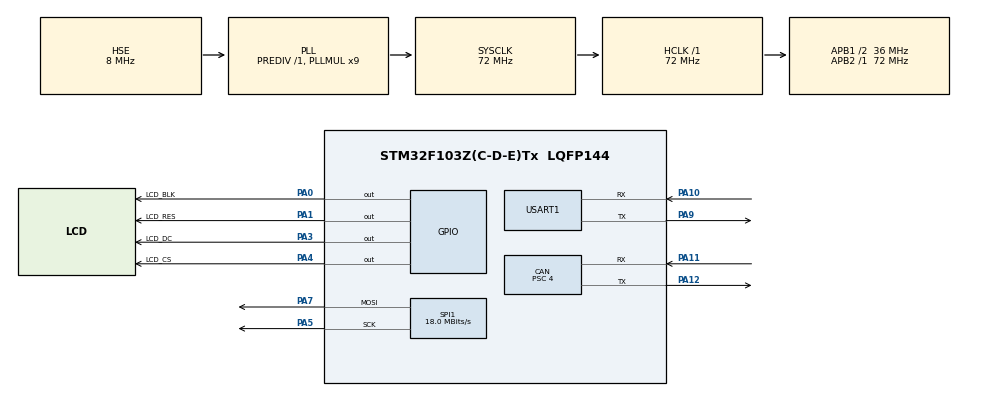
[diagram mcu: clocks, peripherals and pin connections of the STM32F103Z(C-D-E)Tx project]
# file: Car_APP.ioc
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CAN.BS1=CAN_BS1_9TQ
CAN.BS2=CAN_BS2_8TQ
CAN.CalculateBaudRate=500000
CAN.CalculateTimeBit=2000
CAN.CalculateTimeQuantum=111.11111111111111
CAN.NART=ENABLE
CAN.Prescaler=4
Mcu.Family=STM32F1
Mcu.Name=STM32F103Z(C-D-E)Tx
Mcu.Package=LQFP144
NVIC.PriorityGroup=NVIC_PRIORITYGROUP_4
NVIC.TIM6_IRQn=true\:0\:0\:false\:false\:true\:true\:true\:true
OSC_IN.Mode=HSE-External-Oscillator
OSC_IN.Signal=RCC_OSC_IN
OSC_OUT.Mode=HSE-External-Oscillator
OSC_OUT.Signal=RCC_OSC_OUT
PA0-WKUP.GPIO_Label=LCD_BLK
PA0-WKUP.GPIO_Speed=GPIO_SPEED_FREQ_HIGH
PA0-WKUP.Signal=GPIO_Output
PA1.GPIO_Label=LCD_RES
PA1.GPIO_Speed=GPIO_SPEED_FREQ_HIGH
PA1.Signal=GPIO_Output
PA10.Mode=Asynchronous
PA10.Signal=USART1_RX
PA11.Mode=CAN_Activate
PA11.Signal=CAN_RX
PA12.Mode=CAN_Activate
PA12.Signal=CAN_TX
PA13.Mode=Serial_Wire
PA13.Signal=SYS_JTMS-SWDIO
PA14.Mode=Serial_Wire
PA14.Signal=SYS_JTCK-SWCLK
PA3.GPIO_Label=LCD_DC
PA3.GPIO_Speed=GPIO_SPEED_FREQ_HIGH
PA3.Signal=GPIO_Output
PA4.GPIO_Label=LCD_CS
PA4.GPIO_Speed=GPIO_SPEED_FREQ_HIGH
PA4.Signal=GPIO_Output
PA5.Mode=TX_Only_Simplex_Unidirect_Master
PA5.Signal=SPI1_SCK
PA7.Mode=TX_Only_Simplex_Unidirect_Master
PA7.Signal=SPI1_MOSI
PA9.Mode=Asynchronous
PA9.Signal=USART1_TX
PC14-OSC32_IN.Mode=LSE-External-Oscillator
PC14-OSC32_IN.Signal=RCC_OSC32_IN
PC15-OSC32_OUT.Mode=LSE-External-Oscillator
PC15-OSC32_OUT.Signal=RCC_OSC32_OUT
ProjectManager.HeapSize=0x200
ProjectManager.StackSize=0x400
ProjectManager.TargetToolchain=MDK-ARM V5.32
RCC.AHBFreq_Value=72000000
RCC.APB1CLKDivider=RCC_HCLK_DIV2
RCC.APB1Freq_Value=36000000
RCC.APB1TimFreq_Value=72000000
RCC.APB2Freq_Value=72000000
RCC.APB2TimFreq_Value=72000000
RCC.HCLKFreq_Value=72000000
RCC.PLLMUL=RCC_PLL_MUL9
RCC.PLLSourceVirtual=RCC_PLLSOURCE_HSE
RCC.SYSCLKFreq_VALUE=72000000
RCC.SYSCLKSource=RCC_SYSCLKSOURCE_PLLCLK
RCC.USBFreq_Value=72000000
SPI1.BaudRatePrescaler=SPI_BAUDRATEPRESCALER_4
SPI1.CalculateBaudRate=18.0 MBits/s
SPI1.Direction=SPI_DIRECTION_2LINES
SPI1.Mode=SPI_MODE_MASTER
SPI1.VirtualType=VM_MASTER
TIM6.Period=999
TIM6.Prescaler=71
USART1.VirtualMode=VM_ASYNC
VP_RTC_VS_RTC_Activate.Mode=RTC_Enabled
VP_TIM6_VS_ClockSourceINT.Mode=Enable_Timer
board=custom

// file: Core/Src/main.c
/* USER CODE BEGIN Header */
/**
  ******************************************************************************
  * @file           : main.c
  * @brief          : Main program body
  ******************************************************************************
  * @attention
  *
  * Copyright (c) 2026 STMicroelectronics.
  * All rights reserved.
  *
  * This software is licensed under terms that can be found in the LICENSE file
  * in the root directory of this software component.
  * If no LICENSE file comes with this software, it is provided AS-IS.
  *
  ******************************************************************************
  */
/* USER CODE END Header */
#include "main.h"
#include "can.h"
#include "rtc.h"
#include "spi.h"
#include "tim.h"
#include "usart.h"
#include "gpio.h"
#include <stdio.h>

/* USER CODE BEGIN Includes */

#include "lvgl/lvgl.h"
#include "lv_port_disp.h"
#include "lcd.h"
#include "ui/ui.h"
#include "canif.h"
#include "can_handle.h"
#include "boot_manager.h"

/* USER CODE END Includes */

void SystemClock_Config(void);

int main(void)
{

  /* USER CODE BEGIN 1 */

	 SCB->VTOR = 0x08008000;   /* APP 从 0x08008000 运行，向量表必须跟着挪 */

  /* USER CODE END 1 */

  /* MCU Configuration--------------------------------------------------------*/

  /* Reset of all peripherals, Initializes the Flash interface and the Systick. */
  HAL_Init();

  /* Configure the system clock */
  SystemClock_Config();

  /* Initialize all configured peripherals */
  MX_GPIO_Init();
  MX_CAN_Init();
  Can_Filter_Init();              /* 配置CAN过滤器 + 启动CAN */
  MX_RTC_Init();
  MX_SPI1_Init();
  MX_TIM6_Init();
  MX_USART1_UART_Init();
  /* USER CODE BEGIN 2 */

	HAL_TIM_Base_Start_IT(&htim6);   /* 启动 TIM6 中断 → 开始喂 lv_tick */
  LCD_Init();                       /* 第 6 步的 LCD 初始化 */
  lv_init();                        /* LVGL 库初始化 (必须先于 lv_port_disp_init) */
  lv_port_disp_init();              /* 注册显示驱动 */

  ui_init();                       /* 建界面 */
	ui_set_rpm_angle(60);            /* 指针应指 150° */
	ui_set_safty_belt_color(1);      /* 安全带图标红 */
	ui_set_water_temp_color(1);      /* 水温图标红 */

  /* USER CODE END 2 */

  /* Infinite loop */
  while (1)
  {

    /* USER CODE BEGIN 3 */
    static uint32_t lvtick = 0;
    static uint32_t rtc_tick = 0;
    uint32_t v;

		/* ===== OTA 触发检测（必须在 LVGL 之前） ===== */
			if (get_ota_flag() == 1) {
					inter_flash_cfg_set_app_update_flag(1);   /* 写 Flash 升级标志 */
					printf("[OTA] Restarting to OTA...\r\n");
					HAL_Delay(500);                            /* 等 printf 刷完 */
					HAL_NVIC_SystemReset();                    /* 复位进 Bootloader */
			}

		/* 1. LVGL 心跳节拍：每 5ms 调一次 */
    if (HAL_GetTick() - lvtick > 5) { lvtick = HAL_GetTick(); lv_timer_handler(); }

    /* 2. RTC 时间：每 500ms 读 RTC → sprintf → ui_set_date_time_value() */
    /*    注意：必须先 GetTime 再 GetDate（HAL 的 RTC 库要求） */
    if (HAL_GetTick() - rtc_tick > 500) {
        rtc_tick = HAL_GetTick();
        RTC_TimeTypeDef sTime = {0};
        RTC_DateTypeDef sDate = {0};
        HAL_RTC_GetTime(&hrtc, &sTime, RTC_FORMAT_BIN);
        HAL_RTC_GetDate(&hrtc, &sDate, RTC_FORMAT_BIN);
        char date_str[16];
        char time_str[16];
        sprintf(date_str, "20%02d-%02d-%02d", sDate.Year, sDate.Month, sDate.Date);
        sprintf(time_str, "%02d:%02d:%02d", sTime.Hours, sTime.Minutes, sTime.Seconds);
        ui_set_date_time_value((uint8_t *)date_str, (uint8_t *)time_str);
    }

    /* 3. CAN 收帧解析（生产者） */
    Can_Handle();

    /* 4. 有新数据就刷 UI（消费者）： */
    if (ui_get_rpm_value(&v) == 0)        ui_set_rpm_angle(v);
    if (ui_get_water_temp_value(&v) == 0) ui_set_water_temp_color(v);
    if (ui_get_safty_belt_value(&v) == 0) ui_set_safty_belt_color(v);
    if (ui_get_light_value(&v) == 0)      ui_set_light_color(v);
    if (ui_get_turn_light_value(&v) == 0) ui_set_turn_light_color(v);

    /* 5. CAN 收到 TYPE=06/07 的日期时间 → 写入 RTC */
    if (ui_get_date_value(&v) == 0) {
        RTC_DateTypeDef sDate = {0};
        sDate.Year  = (v >> 24) & 0xFF;
        sDate.Month = (v >> 16) & 0xFF;
        sDate.Date  = (v >> 8)  & 0xFF;
        HAL_RTC_SetDate(&hrtc, &sDate, RTC_FORMAT_BIN);
    }
    if (ui_get_time_value(&v) == 0) {
        RTC_TimeTypeDef sTime = {0};
        sTime.Hours   = (v >> 24) & 0xFF;
        sTime.Minutes = (v >> 16) & 0xFF;
        sTime.Seconds = (v >> 8)  & 0xFF;
        HAL_RTC_SetTime(&hrtc, &sTime, RTC_FORMAT_BIN);
    }
  }
  /* USER CODE END 3 */
}

void SystemClock_Config(void)
{
  RCC_OscInitTypeDef RCC_OscInitStruct = {0};
  RCC_ClkInitTypeDef RCC_ClkInitStruct = {0};
  RCC_PeriphCLKInitTypeDef PeriphClkInit = {0};

  /** Initializes the RCC Oscillators according to the specified parameters
  * in the RCC_OscInitTypeDef structure.
  */
  RCC_OscInitStruct.OscillatorType = RCC_OSCILLATORTYPE_LSI|RCC_OSCILLATORTYPE_HSE;
  RCC_OscInitStruct.HSEState = RCC_HSE_ON;
  RCC_OscInitStruct.HSEPredivValue = RCC_HSE_PREDIV_DIV1;
  RCC_OscInitStruct.HSIState = RCC_HSI_ON;
  RCC_OscInitStruct.LSIState = RCC_LSI_ON;
  RCC_OscInitStruct.PLL.PLLState = RCC_PLL_ON;
  RCC_OscInitStruct.PLL.PLLSource = RCC_PLLSOURCE_HSE;
  RCC_OscInitStruct.PLL.PLLMUL = RCC_PLL_MUL9;
  if (HAL_RCC_OscConfig(&RCC_OscInitStruct) != HAL_OK)
  {
    Error_Handler();
  }

  /** Initializes the CPU, AHB and APB buses clocks
  */
  RCC_ClkInitStruct.ClockType = RCC_CLOCKTYPE_HCLK|RCC_CLOCKTYPE_SYSCLK
                              |RCC_CLOCKTYPE_PCLK1|RCC_CLOCKTYPE_PCLK2;
  RCC_ClkInitStruct.SYSCLKSource = RCC_SYSCLKSOURCE_PLLCLK;
  RCC_ClkInitStruct.AHBCLKDivider = RCC_SYSCLK_DIV1;
  RCC_ClkInitStruct.APB1CLKDivider = RCC_HCLK_DIV2;
  RCC_ClkInitStruct.APB2CLKDivider = RCC_HCLK_DIV1;

  if (HAL_RCC_ClockConfig(&RCC_ClkInitStruct, FLASH_LATENCY_2) != HAL_OK)
  {
    Error_Handler();
  }
  PeriphClkInit.PeriphClockSelection = RCC_PERIPHCLK_RTC;
  PeriphClkInit.RTCClockSelection = RCC_RTCCLKSOURCE_LSI;
  if (HAL_RCCEx_PeriphCLKConfig(&PeriphClkInit) != HAL_OK)
  {
    Error_Handler();
  }
}

/* USER CODE BEGIN 4 */

/* USER CODE BEGIN 4 */
void HAL_TIM_PeriodElapsedCallback(TIM_HandleTypeDef *htim)
{
    if (htim->Instance == TIM6) {
        lv_tick_inc(1);    /* ���� LVGL: ��ȥ�� 1ms */
    }
}
/* USER CODE END 4 */

/* USER CODE END 4 */

void Error_Handler(void)
{
  __disable_irq();
  while (1)
  {
  }
}
